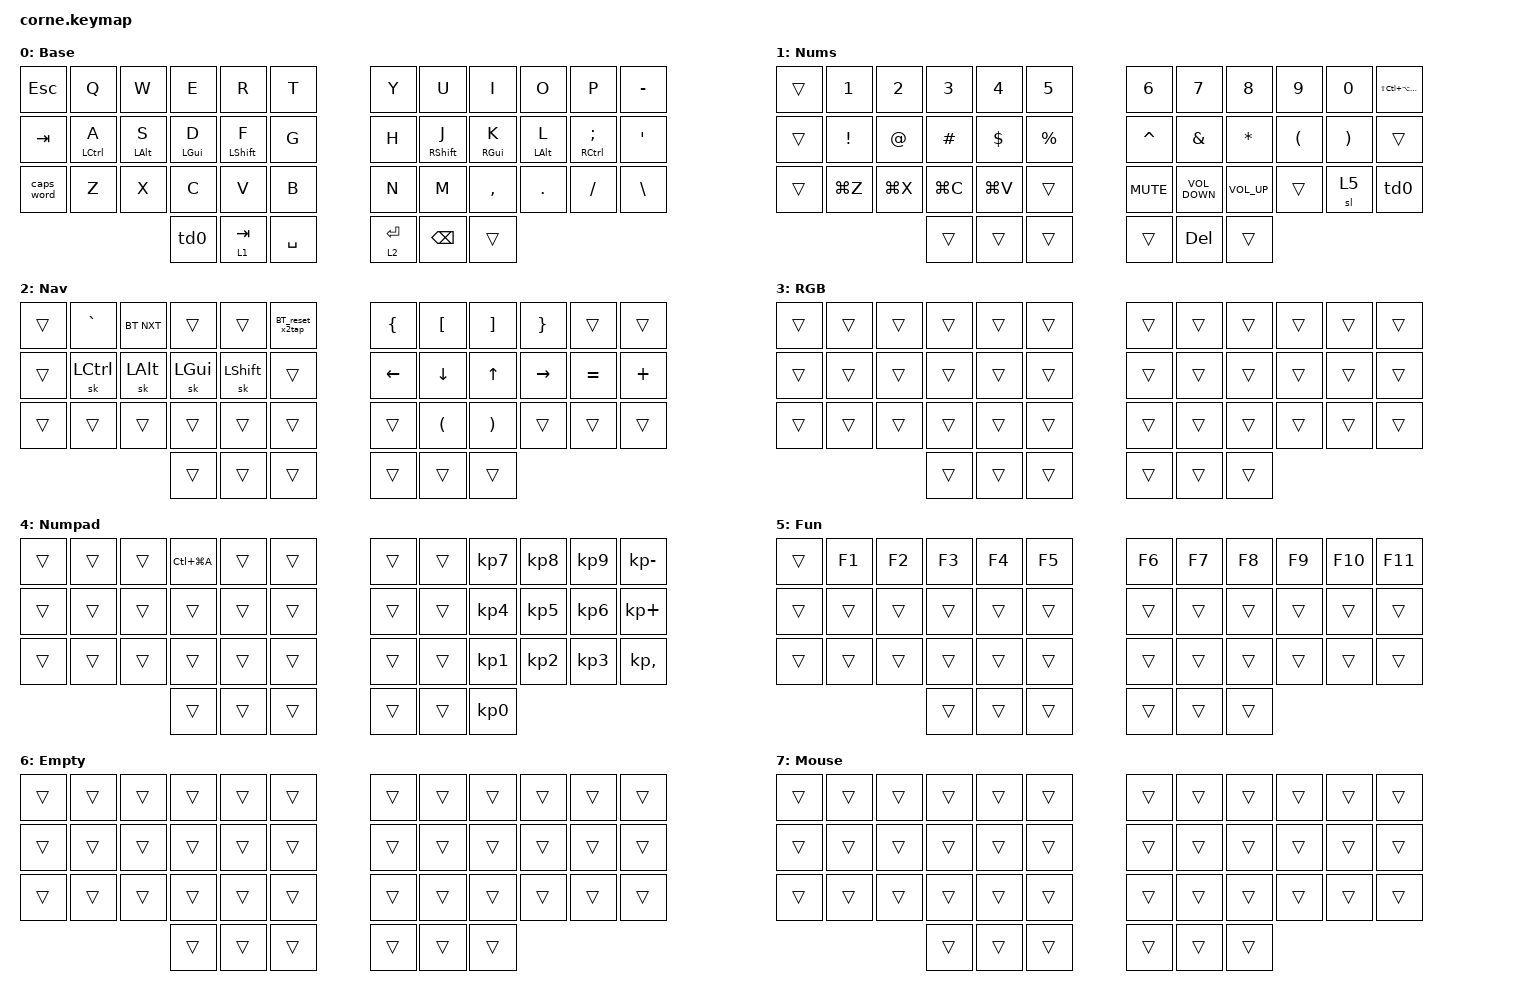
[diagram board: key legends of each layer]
/*
 * Copyright (c) 2024 The ZMK Contributors
 *
 * SPDX-License-Identifier: MIT
 *
 * New versoin
 */

#include <dt-bindings/zmk/modifiers.h>
#include <behaviors.dtsi>
#include <dt-bindings/zmk/bt.h>
#include <dt-bindings/zmk/keys.h>

/ {
    behaviors {
        caps_word: caps_word {
            compatible = "zmk,behavior-caps-word";
            #binding-cells = <0>;
            continue-list = <UNDERSCORE MINUS BACKSPACE DELETE>;
        };

        gres: grave_escape {
            compatible = "zmk,behavior-mod-morph";
            #binding-cells = <0>;
            bindings = <&kp ESC>, <&kp GRAVE>;

            mods = <(MOD_LSFT|MOD_RSFT)>;
        };

        td0: tap_dance_0 {
            compatible = "zmk,behavior-tap-dance";
            #binding-cells = <0>;
            tapping-term-ms = <200>;
            bindings = <&none>, <&none>, <&bootloader>, <&none>;
        };

        m0: macro_0 {
            compatible = "zmk,behavior-macro";
            #binding-cells = <0>;
            wait-ms = <5>;
            tap-ms = <5>;
            bindings = <&kp RETURN &to 0>;
        };

        m1: macro_1 {
            compatible = "zmk,behavior-macro";
            #binding-cells = <0>;
            wait-ms = <5>;
            tap-ms = <5>;
            bindings = <&kp GRAVE &kp GRAVE &kp GRAVE>;
        };

        hml: home_row_mod_left {
            compatible = "zmk,behavior-hold-tap";
            #binding-cells = <2>;
            flavor = "balanced";
            require-prior-idle-ms = <125>;
            tapping-term-ms = <250>;
            quick-tap-ms = <200>;
            bindings = <&kp>, <&kp>;

            // hold-trigger-key-positions = < ... >; // List of keys on the right side of the keyboard

            hold-trigger-on-release;
            hold-trigger-key-positions = <6 7 8 9 10 11 23 22 20 21 19 18 30 31 32 33 34 35 39 40 41>;
        };

        hmr: home_row_mod_right {
            compatible = "zmk,behavior-hold-tap";
            #binding-cells = <2>;
            flavor = "balanced";
            require-prior-idle-ms = <125>;
            tapping-term-ms = <250>;
            quick-tap-ms = <200>;
            bindings = <&kp>, <&kp>;

            // hold-trigger-key-positions = < ... >; // List of keys on the left side of the keyboard

            hold-trigger-on-release;
            retro-tap;
            hold-trigger-key-positions = <0 1 2 3 4 5 12 13 14 15 16 17 24 25 26 27 28 29 37 36 38>;
        };

        cw_minus: cw_minus {
            compatible = "zmk,behavior-mod-morph";
            label = "CW_MINUS";
            bindings = <&kp MINUS>, <&none>;

            #binding-cells = <0>;
            mods = <(MOD_RSFT|MOD_LSFT)>;
        };

        BT_reset_x2tap: BT_reset_x2tap {
            compatible = "zmk,behavior-tap-dance";
            label = "BT_RESET_X2TAP";
            #binding-cells = <0>;
            bindings = <&none>, <&bt BT_CLR>;
        };
    };

    macros {
    };

    keymap {
        compatible = "zmk,keymap";

        layer_0 {
            display-name = "Base";
            bindings = <
&kp ESC     &kp Q         &kp W        &kp E        &kp R         &kp T        &kp Y         &kp U          &kp I        &kp O        &kp P            &kp MINUS
&kp TAB     &hml LCTRL A  &hml LALT S  &hml LGUI D  &hml LSHFT F  &kp G        &kp H         &hmr RSHFT J   &hmr RGUI K  &hmr LALT L  &hmr RCTRL SEMI  &kp SQT
&caps_word  &kp Z         &kp X        &kp C        &kp V         &kp B        &kp N         &kp M          &kp COMMA    &kp PERIOD   &kp SLASH        &kp BACKSLASH
                                       &td0         &lt 1 TAB     &kp SPACE    &lt 2 RETURN  &kp BACKSPACE  &trans
            >;
        };

        layer_1 {
            display-name = "Nums";
            bindings = <
&trans  &kp N1     &kp N2     &kp N3     &kp N4     &kp N5       &kp N6      &kp N7             &kp N8           &kp N9    &kp N0    &kp LS(LC(LA(LG(LEFT))))
&trans  &kp EXCL   &kp AT     &kp HASH   &kp DLLR   &kp PRCNT    &kp CARET   &kp AMPS           &kp ASTERISK     &kp LPAR  &kp RPAR  &trans
&trans  &kp LG(Z)  &kp LG(X)  &kp LG(C)  &kp LG(V)  &trans       &kp C_MUTE  &kp C_VOLUME_DOWN  &kp C_VOLUME_UP  &trans    &sl 5     &td0
                              &trans     &trans     &trans       &trans      &kp DEL            &trans
            >;
        };

        layer_3 {
            display-name = "Nav";
            bindings = <
&trans  &kp GRAVE  &bt BT_NXT  &trans    &trans     &BT_reset_x2tap    &kp LBRC  &kp LBKT  &kp RBKT  &kp RBRC   &trans     &trans
&trans  &sk LCTRL  &sk LALT    &sk LGUI  &sk LSHFT  &trans             &kp LEFT  &kp DOWN  &kp UP    &kp RIGHT  &kp EQUAL  &kp PLUS
&trans  &trans     &trans      &trans    &trans     &trans             &trans    &kp LPAR  &kp RPAR  &trans     &trans     &trans
                               &trans    &trans     &trans             &trans    &trans    &trans
            >;
        };

        layer_2 {
            display-name = "RGB";
            bindings = <
&trans  &trans  &trans  &trans  &trans  &trans    &trans  &trans  &trans  &trans  &trans  &trans
&trans  &trans  &trans  &trans  &trans  &trans    &trans  &trans  &trans  &trans  &trans  &trans
&trans  &trans  &trans  &trans  &trans  &trans    &trans  &trans  &trans  &trans  &trans  &trans
                        &trans  &trans  &trans    &trans  &trans  &trans
            >;
        };

        layer_4 {
            display-name = "Numpad";
            bindings = <
&trans  &trans  &trans  &kp LC(LG(A))  &trans  &trans    &trans  &trans  &kp KP_N7  &kp KP_N8  &kp KP_N9  &kp KP_MINUS
&trans  &trans  &trans  &trans         &trans  &trans    &trans  &trans  &kp KP_N4  &kp KP_N5  &kp KP_N6  &kp KP_PLUS
&trans  &trans  &trans  &trans         &trans  &trans    &trans  &trans  &kp KP_N1  &kp KP_N2  &kp KP_N3  &kp KP_COMMA
                        &trans         &trans  &trans    &trans  &trans  &kp KP_N0
            >;
        };

        layer_5 {
            display-name = "Fun";
            bindings = <
&trans  &kp F1  &kp F2  &kp F3  &kp F4  &kp F5    &kp F6  &kp F7  &kp F8  &kp F9  &kp F10  &kp F11
&trans  &trans  &trans  &trans  &trans  &trans    &trans  &trans  &trans  &trans  &trans   &trans
&trans  &trans  &trans  &trans  &trans  &trans    &trans  &trans  &trans  &trans  &trans   &trans
                        &trans  &trans  &trans    &trans  &trans  &trans
            >;
        };

        layer_6 {
            display-name = "Empty";
            bindings = <
&trans  &trans  &trans  &trans  &trans  &trans    &trans  &trans  &trans  &trans  &trans  &trans
&trans  &trans  &trans  &trans  &trans  &trans    &trans  &trans  &trans  &trans  &trans  &trans
&trans  &trans  &trans  &trans  &trans  &trans    &trans  &trans  &trans  &trans  &trans  &trans
                        &trans  &trans  &trans    &trans  &trans  &trans
            >;
        };

        layer_7 {
            display-name = "Mouse";
            bindings = <
&trans  &trans  &trans  &trans  &trans  &trans    &trans  &trans  &trans  &trans  &trans  &trans
&trans  &trans  &trans  &trans  &trans  &trans    &trans  &trans  &trans  &trans  &trans  &trans
&trans  &trans  &trans  &trans  &trans  &trans    &trans  &trans  &trans  &trans  &trans  &trans
                        &trans  &trans  &trans    &trans  &trans  &trans
            >;
        };
    };

    combos {
        compatible = "zmk,combos";

        combo_0 {
            timeout-ms = <50>;
            key-positions = <19 16>;
            bindings = <&caps_word>;
        };

        combo_1 {
            timeout-ms = <50>;
            key-positions = <1 2>;
            bindings = <&kp GRAVE>;
        };

        combo_2 {
            timeout-ms = <50>;
            key-positions = <7 8>;
            bindings = <&kp ESC>;
        };

        combo_3 {
            timeout-ms = <50>;
            key-positions = <1 2 3>;
            bindings = <&m1>;
        };

        combo_4 {
            timeout-ms = <50>;
            key-positions = <38 17>;
            bindings = <&mo 4>;
        };

        combo_5 {
            timeout-ms = <50>;
            key-positions = <1 3>;
            bindings = <&kp TILDE>;
        };
    };
};
